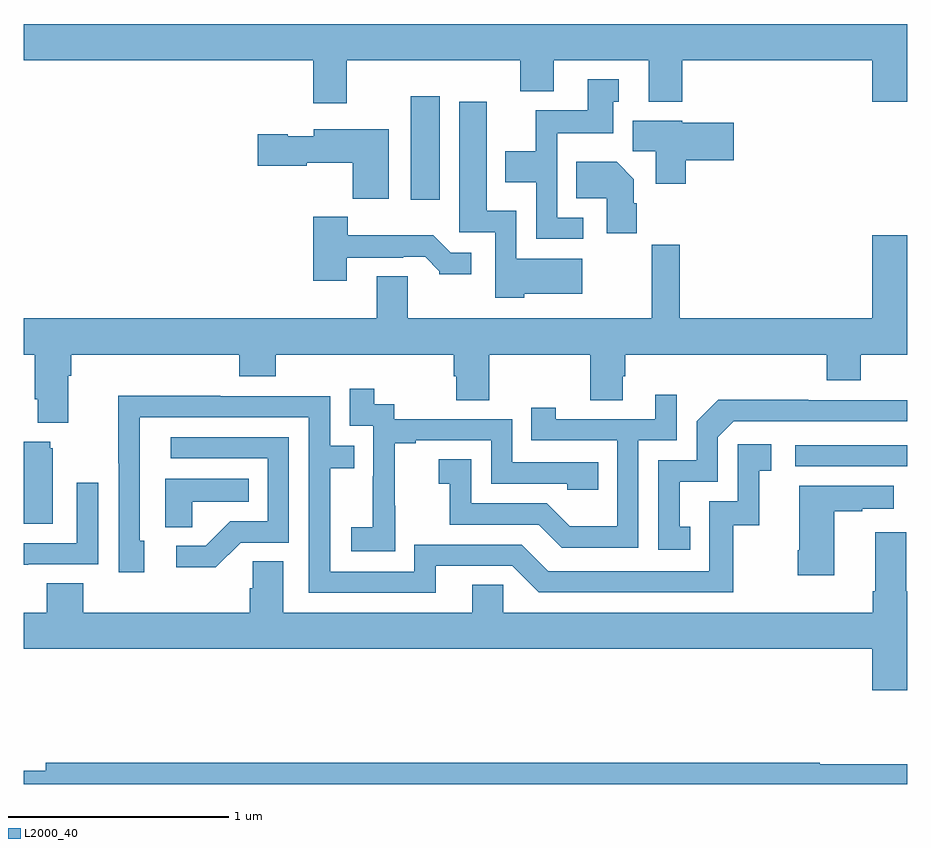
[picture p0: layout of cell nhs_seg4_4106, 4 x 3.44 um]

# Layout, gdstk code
import gdstk
lib = gdstk.Library(unit=1e-6, precision=1e-09)
def R(c, l, rs):  # rectangles x0, y0, x1, y1
    for r in rs: c.add(gdstk.rectangle(r[:2], r[2:], *l))
def P(c, l, *ps):  # polygons
    for p in ps: c.add(gdstk.Polygon(p, *l))
L2000_40 = (2000, 40)

nhs_seg4_4106 = lib.new_cell('nhs_seg4_4106')
R(nhs_seg4_4106, L2000_40, [(332.493,772.338,333,772.434), (330.752,773.544,330.883,774.013)])
P(nhs_seg4_4106, L2000_40, [(330.463,774.176),(331.247,774.176),(331.247,774.035),(331.399,774.035),(331.399,774.176),(331.829,774.176),(331.829,773.987),(331.982,773.987),(331.982,774.176),(332.84,774.176),(332.84,773.988),(333,773.988),(333,774.34),(329,774.34),(329,774.176),(330.311,774.176),(330.311,773.982),(330.463,773.982)],
  [(331.534,773.463),(331.416,773.463),(331.416,773.846),(331.669,773.846),(331.669,773.988),(331.693,773.988),(331.693,774.091),(331.553,774.091),(331.553,773.95),(331.318,773.95),(331.318,773.764),(331.181,773.764),(331.181,773.624),(331.32,773.624),(331.32,773.367),(331.534,773.367)],
  [(331.266,773.12),(331.528,773.12),(331.528,773.278),(331.23,773.278),(331.23,773.494),(331.096,773.494),(331.096,773.989),(330.971,773.989),(330.971,773.397),(331.134,773.397),(331.134,773.102),(331.266,773.102)],
  [(331.997,773.723),(332.215,773.723),(332.215,773.893),(331.98,773.893),(331.98,773.902),(331.757,773.902),(331.757,773.764),(331.862,773.764),(331.862,773.616),(331.997,773.616)],
  [(330.652,773.863),(330.314,773.863),(330.314,773.833),(330.195,773.833),(330.195,773.841),(330.06,773.841),(330.06,773.699),(330.282,773.699),(330.282,773.711),(330.49,773.711),(330.49,773.549),(330.652,773.549)],
  [(331.775,773.528),(331.762,773.528),(331.762,773.638),(331.684,773.716),(331.501,773.716),(331.501,773.552),(331.64,773.552),(331.64,773.394),(331.775,773.394)],
  [(330.463,773.283),(330.719,773.283),(330.719,773.286),(330.818,773.286),(330.882,773.222),(330.882,773.207),(331.027,773.207),(331.027,773.304),(330.933,773.304),(330.855,773.383),(330.466,773.383),(330.466,773.467),(330.311,773.467),(330.311,773.178),(330.463,773.178)],
  [(329.203,772.748),(329.216,772.748),(329.216,772.844),(329.975,772.844),(329.975,772.745),(330.14,772.745),(330.14,772.844),(330.947,772.844),(330.947,772.746),(330.959,772.746),(330.959,772.636),(331.107,772.636),(331.107,772.844),(331.564,772.844),(331.564,772.636),(331.711,772.636),(331.711,772.746),(331.724,772.746),(331.724,772.844),(332.636,772.844),(332.636,772.727),(332.788,772.727),(332.788,772.844),(333,772.844),(333,773.383),(332.84,773.383),(332.84,773.008),(331.97,773.008),(331.97,773.341),(331.842,773.341),(331.842,773.008),(330.739,773.008),(330.739,773.198),(330.599,773.198),(330.599,773.008),(329,773.008),(329,772.844),(329.051,772.844),(329.051,772.642),(329.063,772.642),(329.063,772.535),(329.203,772.535)],
  [(330.681,772.159),(330.68,772.159),(330.68,772.443),(330.775,772.443),(330.775,772.455),(331.116,772.455),(331.116,772.26),(331.461,772.26),(331.461,772.233),(331.601,772.233),(331.601,772.356),(331.212,772.356),(331.212,772.551),(330.678,772.551),(330.678,772.62),(330.586,772.62),(330.586,772.69),(330.477,772.69),(330.477,772.521),(330.582,772.521),(330.582,772.292),(330.581,772.292),(330.581,772.063),(330.483,772.063),(330.483,771.953),(330.681,771.953)],
  [(331.782,772.455),(331.956,772.455),(331.956,772.663),(331.859,772.663),(331.859,772.551),(331.408,772.551),(331.408,772.603),(331.297,772.603),(331.297,772.455),(331.686,772.455),(331.686,772.066),(331.472,772.066),(331.368,772.17),(331.026,772.17),(331.026,772.369),(330.879,772.369),(330.879,772.259),(330.928,772.259),(330.928,772.074),(331.331,772.074),(331.436,771.969),(331.782,771.969)],
  [(330.865,771.888),(331.212,771.888),(331.332,771.768),(332.212,771.768),(332.212,772.071),(332.33,772.071),(332.33,772.317),(332.383,772.317),(332.383,772.438),(332.232,772.438),(332.232,772.179),(332.103,772.179),(332.103,771.864),(331.374,771.864),(331.254,771.984),(330.768,771.984),(330.768,771.861),(330.387,771.861),(330.387,772.33),(330.497,772.33),(330.497,772.431),(330.387,772.431),(330.387,772.656),(329.891,772.656),(329.891,772.658),(329.428,772.658),(329.428,772.351),(329.43,772.351),(329.43,771.858),(329.545,771.858),(329.545,772.002),(329.526,772.002),(329.526,772.56),(330.291,772.56),(330.291,771.765),(330.865,771.765)],
  [(332.018,772.065),(331.969,772.065),(331.969,772.269),(332.142,772.269),(332.142,772.47),(332.214,772.542),(333,772.542),(333,772.638),(332.552,772.638),(332.552,772.64),(332.144,772.64),(332.046,772.542),(332.046,772.365),(331.872,772.365),(331.872,771.96),(332.018,771.96)],
  [(329.982,771.993),(330.201,771.993),(330.201,772.47),(329.667,772.47),(329.667,772.374),(330.105,772.374),(330.105,772.089),(329.936,772.089),(329.825,771.978),(329.691,771.978),(329.691,771.881),(329.869,771.881)],
  [(329.131,772.419),(329.12,772.419),(329.12,772.45),(329,772.45),(329,772.079),(329.131,772.079)],
  [(329.763,772.178),(330.02,772.178),(330.02,772.282),(329.642,772.282),(329.642,772.063),(329.763,772.063)],
  [(329.021,771.894),(329.337,771.894),(329.337,772.264),(329.241,772.264),(329.241,771.99),(329,771.99),(329,771.893),(329.021,771.893)],
  [(332.668,772.135),(332.795,772.135),(332.795,772.145),(332.938,772.145),(332.938,772.249),(332.51,772.249),(332.51,771.958),(332.503,771.958),(332.503,771.846),(332.668,771.846)],
  [(333,771.772),(332.995,771.772),(332.995,772.039),(332.855,772.039),(332.855,771.772),(332.843,771.772),(332.843,771.676),(331.17,771.676),(331.17,771.803),(331.031,771.803),(331.031,771.676),(330.175,771.676),(330.175,771.908),(330.036,771.908),(330.036,771.785),(330.023,771.785),(330.023,771.676),(329.27,771.676),(329.27,771.809),(329.105,771.809),(329.105,771.676),(329,771.676),(329,771.512),(332.84,771.512),(332.84,771.324),(333,771.324)],
  [(333,770.989),(332.603,770.989),(332.603,770.996),(329.099,770.996),(329.099,770.96),(329,770.96),(329,770.9),(333,770.9)])

lib.write_gds('nhs_seg4_4106.gds')
